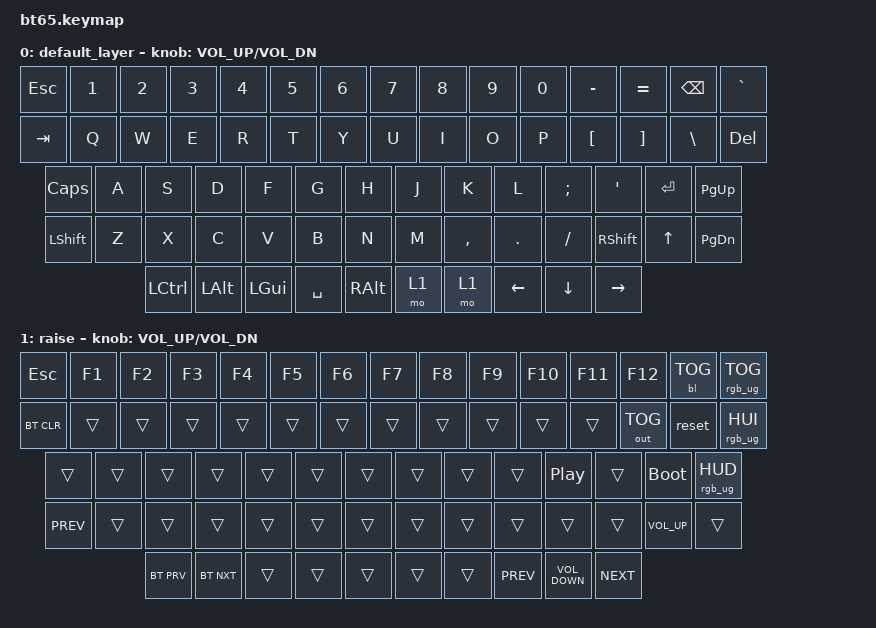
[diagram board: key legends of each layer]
#include <behaviors.dtsi>
#include <dt-bindings/zmk/keys.h>
#include <dt-bindings/zmk/bt.h>
#include <dt-bindings/zmk/rgb.h>
#include <dt-bindings/zmk/backlight.h>
#include <dt-bindings/zmk/ext_power.h>
#include <dt-bindings/zmk/outputs.h>


/ {
	keymap {
		compatible = "zmk,keymap";

		default_layer {
				// ------------------------------------------------------------------------------------------------------------
				// |  `  |  1  |  2  |  3  |  4  |  5  |  6  |  7  |  8  |  9  |  0  |  -  |  =  |BKSP | INS		|
				// | TAB  |  Q  |  W  |  E  |  R  |  T  |  Y  |  U  |  I  |  O  |  P  |  [  |  ]  |   \    | DEL		|
				// | CAPS  |  A  |  S  |  D  |  F  |  G  |  H  |  J  |  K  |  L  |  ;  |  '  |     ENTER    |PGUP	|
				// |  SHIFT  |  Z  |  X  |  C  |  V  |  B  |  N  |  M  |  ,  |  .  | /   |   SHIFT  | UP   | PGDN|
				// |  CTL  |  WIN  |  ALT  |            SPACE               | ALT | 1    |  MENU| LEFT |  DOWN    | RIGHT	|
				// ------------------------------------------------------------------------------------------------------------
			bindings = <
				&kp ESC &kp N1 &kp N2 &kp N3 &kp N4 &kp N5 &kp N6 &kp N7 &kp N8 &kp N9 &kp N0 &kp MINUS &kp EQUAL &kp BSPC &kp GRAVE
				&kp TAB   &kp Q &kp W &kp E &kp R &kp T &kp Y &kp U &kp I &kp O &kp P &kp LBKT &kp RBKT &kp BSLH    &kp DEL
				&kp CLCK    &kp A &kp S &kp D &kp F &kp G &kp H &kp J &kp K &kp L &kp SEMI &kp SQT     &kp RET     &kp PG_UP
				&kp LSHFT     &kp Z &kp X &kp C &kp V &kp B &kp N &kp M &kp COMMA &kp DOT &kp FSLH &kp RSHFT &kp UP &kp PG_DN
				&kp LCTRL  &kp LEFT_ALT &kp LEFT_GUI      &kp SPACE         &kp RALT &mo 1 &mo 1 &kp LEFT &kp DOWN &kp RIGHT
			>;
			sensor-bindings = <&inc_dec_kp C_VOL_UP C_VOL_DN>;
		};
		raise {
			bindings = <
				&kp ESC &kp F1 &kp F2 &kp F3 &kp F4 &kp F5 &kp F6 &kp F7 &kp F8 &kp F9 &kp F10 &kp F11 &kp F12 &bl BL_TOG &rgb_ug RGB_TOG
				&bt BT_CLR &trans &trans &trans &trans &trans &trans &trans &trans &trans &trans &trans &out OUT_TOG &reset &rgb_ug RGB_HUI
				&trans &trans &trans &trans &trans &trans &trans &trans &trans &trans &kp C_PP &trans &bootloader &rgb_ug RGB_HUD
				&kp C_PREV &trans &trans &trans &trans &trans &trans &trans &trans &trans &trans &trans &kp C_VOLUME_UP &trans
				&bt BT_PRV &bt BT_NXT &trans          &trans            &trans &trans &trans &kp C_PREV &kp C_VOLUME_DOWN &kp C_NEXT
			>;
			sensor-bindings = <&inc_dec_kp C_VOL_UP C_VOL_DN>;
		};
	};
};
